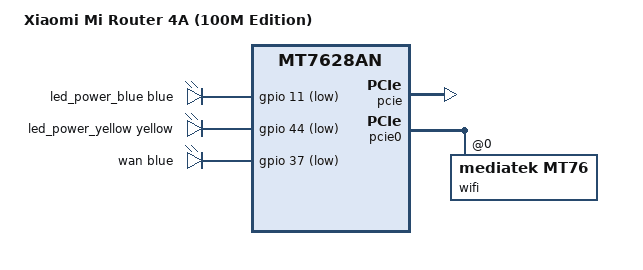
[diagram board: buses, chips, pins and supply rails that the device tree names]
// SPDX-License-Identifier: GPL-2.0-or-later OR MIT

#include <dt-bindings/leds/common.h>

#include "mt7628an_xiaomi_mi-router-4.dtsi"

/ {
	compatible = "xiaomi,mi-router-4a-100m", "mediatek,mt7628an-soc";
	model = "Xiaomi Mi Router 4A (100M Edition)";

	aliases {
		led-boot = &led_power_yellow;
		led-failsafe = &led_power_yellow;
		led-running = &led_power_blue;
		led-upgrade = &led_power_yellow;
		label-mac-device = &ethernet;
	};

	leds {
		compatible = "gpio-leds";

		led_power_blue: power_blue {
			function = LED_FUNCTION_POWER;
			color = <LED_COLOR_ID_BLUE>;
			gpios = <&gpio 11 GPIO_ACTIVE_LOW>;
		};

		led_power_yellow: power_yellow {
			function = LED_FUNCTION_POWER;
			color = <LED_COLOR_ID_YELLOW>;
			gpios = <&gpio 44 GPIO_ACTIVE_LOW>;
		};

		wan {
			function = LED_FUNCTION_WAN;
			color = <LED_COLOR_ID_BLUE>;
			gpios = <&gpio 37 GPIO_ACTIVE_LOW>;
		};
	};

};

&partitions {
	partition@60000 {
		label = "overlay";
		reg = <0x60000 0x100000>;
		read-only;
	};

	partition@160000 {
		label = "firmware";
		reg = <0x160000 0xea0000>;
		compatible = "denx,uimage";
	};
};

&pcie {
	status = "okay";
};

&pcie0 {
	wifi@0,0 {
		compatible = "mediatek,mt76";
		reg = <0x0000 0 0 0 0>;
		nvmem-cells = <&eeprom_factory_8000>;
		nvmem-cell-names = "eeprom";
		ieee80211-freq-limit = <5000000 6000000>;
	};
};

&ethernet {
	nvmem-cells = <&macaddr_factory_4 (-1)>;
	nvmem-cell-names = "mac-address";
};

&esw {
	mediatek,portmap = <0x3e>;
	mediatek,portdisable = <0x2a>;
};
